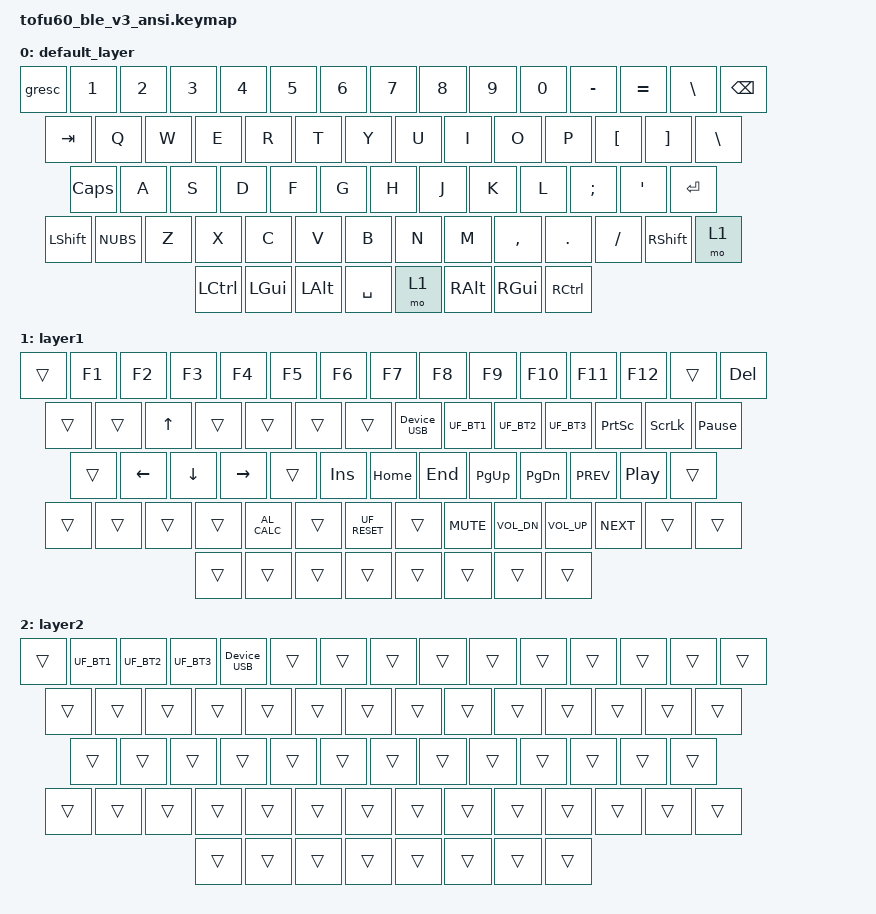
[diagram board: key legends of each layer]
#include "common.keymap"

#define UF_RESET bootloader_reset 0 0
#define UF_BT1 device_bt1 0 0
#define UF_BT2 device_bt2 0 1
#define UF_BT3 device_bt3 0 2

/ {
    keymap {
        compatible = "zmk,keymap";

        default_layer {

            bindings = <
    &gresc  &kp N1 &kp N2 &kp N3 &kp N4 &kp N5 &kp N6 &kp N7 &kp N8 &kp N9 &kp N0 &kp MINUS &kp EQUAL &kp BSLH &kp BSPC
    &kp TAB    &kp Q  &kp W  &kp E  &kp R  &kp T  &kp Y  &kp U  &kp I  &kp O  &kp P  &kp LBKT  &kp RBKT  &kp BSLH
    &kp CLCK    &kp A  &kp S  &kp D  &kp F  &kp G  &kp H  &kp J  &kp K  &kp L  &kp SEMI &kp SQT        &kp RET
    &kp LSHFT &kp NUBS &kp Z  &kp X  &kp C  &kp V  &kp B  &kp N  &kp M  &kp COMMA &kp DOT &kp FSLH      &kp RSHIFT  &mo 1
    &kp LCTRL &kp LGUI &kp LALT             &kp SPACE                       &mo 1  &kp RALT  &kp RGUI &kp RCTRL
            >;
        };

        layer1 {
            bindings = <
    &trans  &kp F1    &kp F2    &kp F3  &kp F4   &kp F5  &kp F6  &kp F7  &kp F8   &kp F9   &kp F10  &kp F11 &kp F12  &trans  &kp DELETE
    &trans &trans    &kp UP    &trans  &trans   &trans  &trans  &Device_USB  &UF_BT1  &UF_BT2  &UF_BT3  &kp PRINTSCREEN  &kp SCROLLLOCK  &kp PAUSE_BREAK
    &trans   &kp LEFT  &kp DOWN  &kp RIGHT &trans  &kp INSERT  &kp HOME  &kp END  &kp PAGE_UP  &kp PAGE_DOWN  &kp C_PREV  &kp C_PLAY_PAUSE     &trans
    &trans &trans  &trans    &trans    &kp C_AL_CALC  &trans &UF_RESET  &trans  &kp C_MUTE  &kp C_VOL_DN  &kp C_VOL_UP   &kp C_NEXT   &trans  &trans
    &trans  &trans   &trans                            &trans                                   &trans    &trans      &trans   &trans
            >;
        };

        layer2 {
            bindings = <
    &trans  &UF_BT1 &UF_BT2 &UF_BT3 &Device_USB &trans &trans &trans &trans &trans &trans &trans &trans &trans &trans
    &trans    &trans &trans &trans &trans &trans &trans &trans &trans &trans &trans &trans &trans &trans
    &trans    &trans &trans &trans &trans &trans &trans &trans &trans &trans &trans &trans       &trans
    &trans &trans &trans &trans &trans &trans &trans &trans &trans &trans &trans &trans        &trans &trans
    &trans &trans &trans                &trans                      &trans &trans &trans &trans
            >;
        };
        layer3 { status = "reserved"; };
        layer4 { status = "reserved"; };
        layer5 { status = "reserved"; };
        layer6 { status = "reserved"; };
        layer7 { status = "reserved"; };
    };
};
